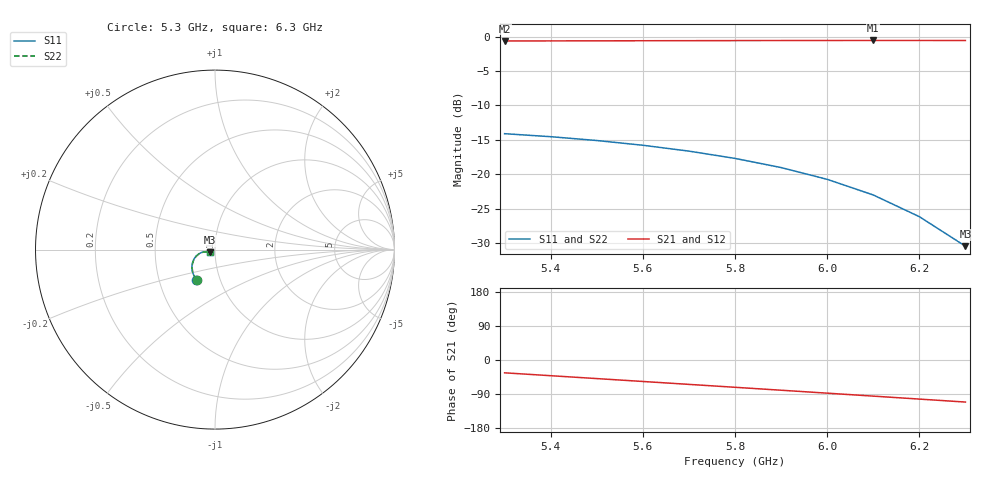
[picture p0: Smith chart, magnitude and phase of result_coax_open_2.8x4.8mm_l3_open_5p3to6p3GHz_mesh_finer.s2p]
! Matching L2/L3 2.8 x 4.8 mm cutouts; Bottom intact; finer first-order mesh
! Coax reference planes; connectors included; 11 direct FEM points
# Hz S RI R 50
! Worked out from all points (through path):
!   11 points, 5.3 GHz to 6.3 GHz, reference 50 ohm
!   highest |S21| = -0.57 dB at 6.1 GHz (marker M1); lowest = -0.6 dB at 5.3 GHz (marker M2)
!   group delay of S21, straight-line fit = 214 ps
!   lowest |S11| = -30.5 dB at 6.3 GHz (marker M3), VSWR 1.06, Z = 47.4 - j1.39 ohm
!   |S11| at or under -10 dB: start of sweep to end of sweep
!   |S22| runs from -30.3 to -14.1 dB; largest |S21 - S12| = 2e-13
5.3e9  -0.1044 -0.167  0.7712 -0.517  0.7712 -0.517  -0.1022 -0.1684
5.4e9  -0.1178 -0.1456  0.6969 -0.615  0.6969 -0.615  -0.1159 -0.1472
5.5e9  -0.126 -0.1224  0.61 -0.7027  0.61 -0.7027  -0.1245 -0.1241
5.6e9  -0.1288 -0.0987  0.512 -0.7786  0.512 -0.7786  -0.1276 -0.1004
5.7e9  -0.1262 -0.0756  0.4042 -0.841  0.4042 -0.841  -0.1254 -0.0773
5.8e9  -0.1183 -0.0544  0.2883 -0.8886  0.2883 -0.8886  -0.1178 -0.056
5.9e9  -0.1057 -0.0363  0.1664 -0.9203  0.1664 -0.9203  -0.1054 -0.0378
6e9  -0.089 -0.0225  0.0406 -0.9351  0.0406 -0.9351  -0.0889 -0.0238
6.1e9  -0.0693 -0.0139  -0.0866 -0.9323  -0.0866 -0.9323  -0.0694 -0.0149
6.2e9  -0.0479 -0.0111  -0.2128 -0.9118  -0.2128 -0.9118  -0.0481 -0.012
6.3e9  -0.0262 -0.0147  -0.3352 -0.8735  -0.3352 -0.8735  -0.0264 -0.0153
